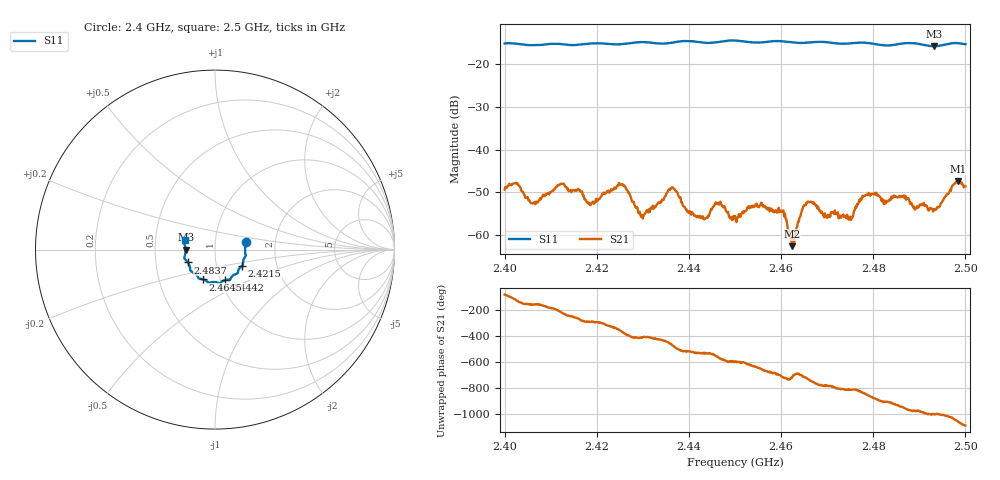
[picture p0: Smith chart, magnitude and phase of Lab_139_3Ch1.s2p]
# Hz S RI R 50
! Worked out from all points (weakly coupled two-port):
!   601 points, 2.4 GHz to 2.5 GHz, reference 50 ohm
!   highest |S21| = -47.30 dB at 2.4983 GHz (marker M1); lowest = -62.6 dB at 2.4623 GHz (marker M2)
!   lowest |S11| = -15.7 dB at 2.4932 GHz (marker M3), VSWR 1.39, Z = 36 - j0.0434 ohm
!   |S11| at or under -10 dB: start of sweep to end of sweep
!   S12 and S22 are empty: the file has one direction only
!   S11 on the Smith chart (normalised r, x): 2.4 GHz: 1.41, +0.12; 2.4215 GHz: 1.33, -0.25; 2.4442 GHz: 1.05, -0.37; 2.4645 GHz: 0.83, -0.29; 2.4837 GHz: 0.73, -0.11; 2.5 GHz: 0.71, +0.07
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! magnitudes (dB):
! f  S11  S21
! 2.4 GHz  -15.1  -49.3
! 2.4062 GHz  -15.5  -52.6
! 2.4167 GHz  -15.3  -49.9
! 2.4215 GHz  -15.1  -50.0
! 2.4257 GHz  -15.2  -48.1
! 2.43 GHz  -14.8  -56.1
! 2.4333 GHz  -15.1  -52.4
! 2.4365 GHz  -14.9  -48.8
! 2.4442 GHz  -15.0  -55.4
! 2.4463 GHz  -14.8  -52.4
! 2.45 GHz  -14.4  -55.5
! 2.46 GHz  -14.6  -54.3
! 2.4623 GHz  -14.8  -62.6
! 2.4645 GHz  -15.0  -54.3
! 2.4667 GHz  -14.8  -52.4
! 2.475 GHz  -15.1  -55.7
! 2.4782 GHz  -14.9  -50.9
! 2.4833 GHz  -15.6  -52.0
! 2.4837 GHz  -15.5  -51.8
! 2.4932 GHz  -15.7  -53.9
! 2.4983 GHz  -15.0  -47.3
! 2.5 GHz  -15.3  -48.6
